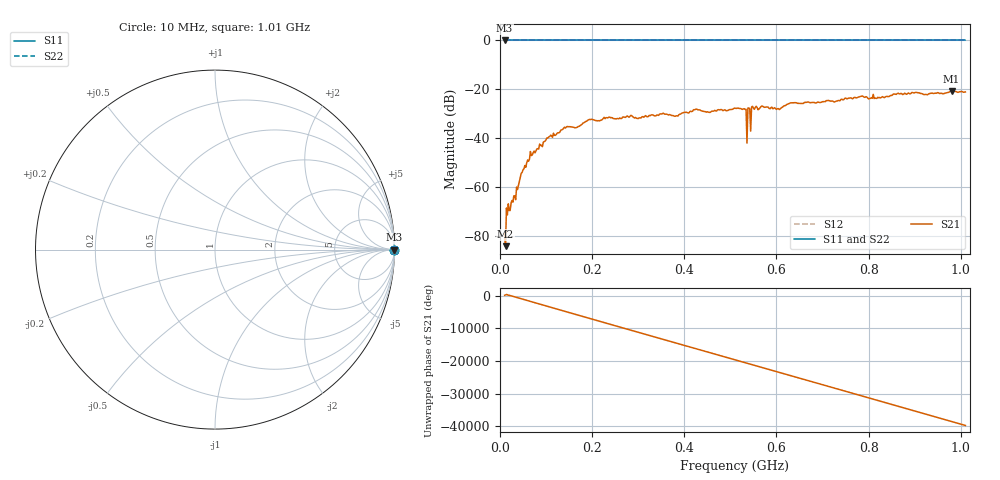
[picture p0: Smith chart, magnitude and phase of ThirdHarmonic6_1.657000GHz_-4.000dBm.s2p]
! 8/16/2025 7:50:41 PM
! C:\ANRITSUVNA\TEMP\TEMP.S2P
! CHANNEL.1
! TR.MEASUREMENT
! RAW.DATA
! RF.CORRECTION.OFF
! AVERAGING.OFF
! IF.BANDWIDTH: 5KHZ
! SWEEPTYPE:  FREQ.SWEEP(Linear)
! Reference Plane Port Info
! PORT:  PORT1  PORT2
! DISTANCE:  0  m  0  m
! TIME:  0  s  0  s
! PHASE.OFFSET:  0  deg.  0  deg.
! LOSS:  0  dB  0  dB
! REF.LOSS:  0  dB  0  dB
! REF.FREQ:  0  Hz  0  Hz
! Power Info
! POWER:  -20  dBm  -20  dBm
! EFF.POWER:  -20  dBm  -20  dBm
! SOURCE.ATTEN:  0  dB  0  dB
! TEST.ATTEN:  0  dB  0  dB
# GHZ S RI R 50.0
! FREQ.GHZ  S11RE  S11IM  S21RE  S21IM  S12RE  S12IM  S22RE  S22IM
!; PortSelection: Port_12
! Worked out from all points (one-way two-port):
!   501 points, 10 MHz to 1.01 GHz, reference 50 ohm
!   highest |S21| = -20.81 dB at 980 MHz (marker M1); lowest = -84.2 dB at 12 MHz (marker M2)
!   lowest |S11| = 0.0 dB at 10 MHz (marker M3)
!   |S11| at or under -10 dB: nowhere
!   |S22| runs from 0.0 to 0.0 dB; largest |S21 - S12| = 1.1
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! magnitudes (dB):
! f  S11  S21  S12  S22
! 10 MHz  0.0  -78.6  0.0  0.0
! 12 MHz  0.0  -84.2  0.0  0.0
! 18 MHz  0.0  -66.9  0.0  0.0
! 36 MHz  0.0  -60.0  0.0  0.0
! 48 MHz  0.0  -54.0  0.0  0.0
! 70 MHz  0.0  -46.9  0.0  0.0
! 106 MHz  0.0  -39.5  0.0  0.0
! 178 MHz  0.0  -34.3  0.0  0.0
! 196 MHz  0.0  -32.4  0.0  0.0
! 344 MHz  0.0  -30.7  0.0  0.0
! 510 MHz  0.0  -27.7  0.0  0.0
! 530 MHz  0.0  -27.9  0.0  0.0
! 532 MHz  0.0  -28.2  0.0  0.0
! 540 MHz  0.0  -27.6  0.0  0.0
! 542 MHz  0.0  -27.9  0.0  0.0
! 550 MHz  0.0  -27.6  0.0  0.0
! 604 MHz  0.0  -27.9  0.0  0.0
! 632 MHz  0.0  -25.6  0.0  0.0
! 678 MHz  0.0  -25.4  0.0  0.0
! 844 MHz  0.0  -23.0  0.0  0.0
! 980 MHz  0.0  -20.8  0.0  0.0
! 1.01 GHz  0.0  -21.1  0.0  0.0
